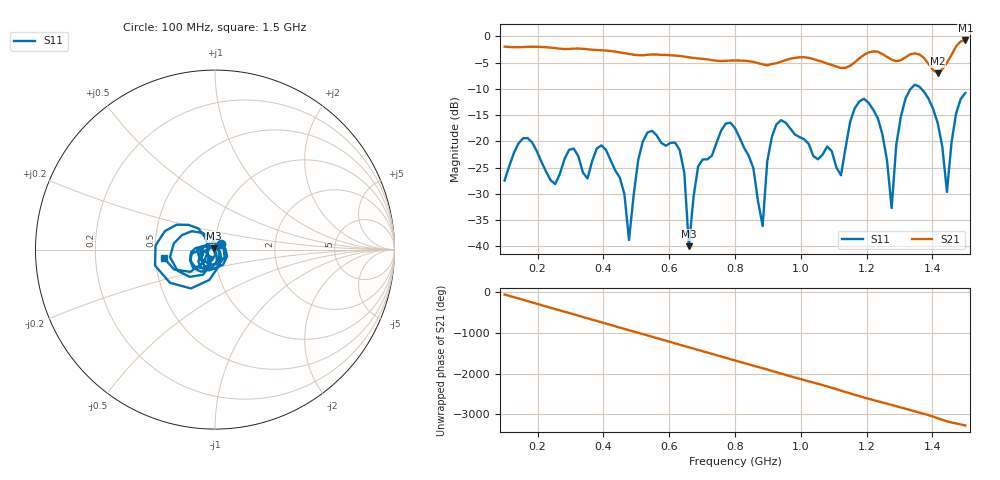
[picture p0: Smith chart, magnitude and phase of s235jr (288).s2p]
! NanoVNA-App
! Date: 2025-09-25 15:06:24
! Start: 100MHz Stop: 1,5GHz Points: 101
! S-Parameter data: F S11 S21 S12 S22
# Hz S RI R 50
!  Frequency  S11_Real  S11_Imag  S21_Real  S21_Imag  S12_Real  S12_Imag  S22_Real  S22_Imag
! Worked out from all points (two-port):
!   101 points, 100 MHz to 1.5 GHz, reference 50 ohm
!   highest |S21| = -0.79 dB at 1.5 GHz (marker M1); lowest = -7.0 dB at 1.416 GHz (marker M2)
!   |S21| within 3 dB of the highest: start of sweep to 637.8 MHz; 1.186 GHz to 1.259 GHz (72.35 MHz wide, 5.92 % of centre) (the widest 2 of 4)
!   lowest |S11| = -40.0 dB at 660 MHz (marker M3), VSWR 1.02, Z = 49.2 + j0.634 ohm
!   |S11| at or under -10 dB: start of sweep to 1.334 GHz; 1.366 GHz to end of sweep
!   S12 and S22 are empty: the file has one direction only
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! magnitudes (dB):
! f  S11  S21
! 100 MHz  -27.5  -2.0
! 156 MHz  -19.4  -2.0
! 338 MHz  -26.0  -2.4
! 408 MHz  -21.6  -2.7
! 478 MHz  -38.8  -3.4
! 520 MHz  -20.0  -3.6
! 576 MHz  -20.3  -3.5
! 632 MHz  -21.7  -3.7
! 660 MHz  -40.0  -4.0
! 688 MHz  -24.8  -4.2
! 800 MHz  -17.5  -4.6
! 884 MHz  -36.1  -5.3
! 926 MHz  -16.7  -5.1
! 1.038 GHz  -22.8  -4.3
! 1.122 GHz  -26.5  -6.0
! 1.192 GHz  -11.9  -3.5
! 1.248 GHz  -18.7  -3.4
! 1.276 GHz  -32.7  -4.5
! 1.332 GHz  -10.1  -3.4
! 1.416 GHz  -16.5  -7.0
! 1.444 GHz  -29.6  -5.0
! 1.5 GHz  -10.8  -0.8
